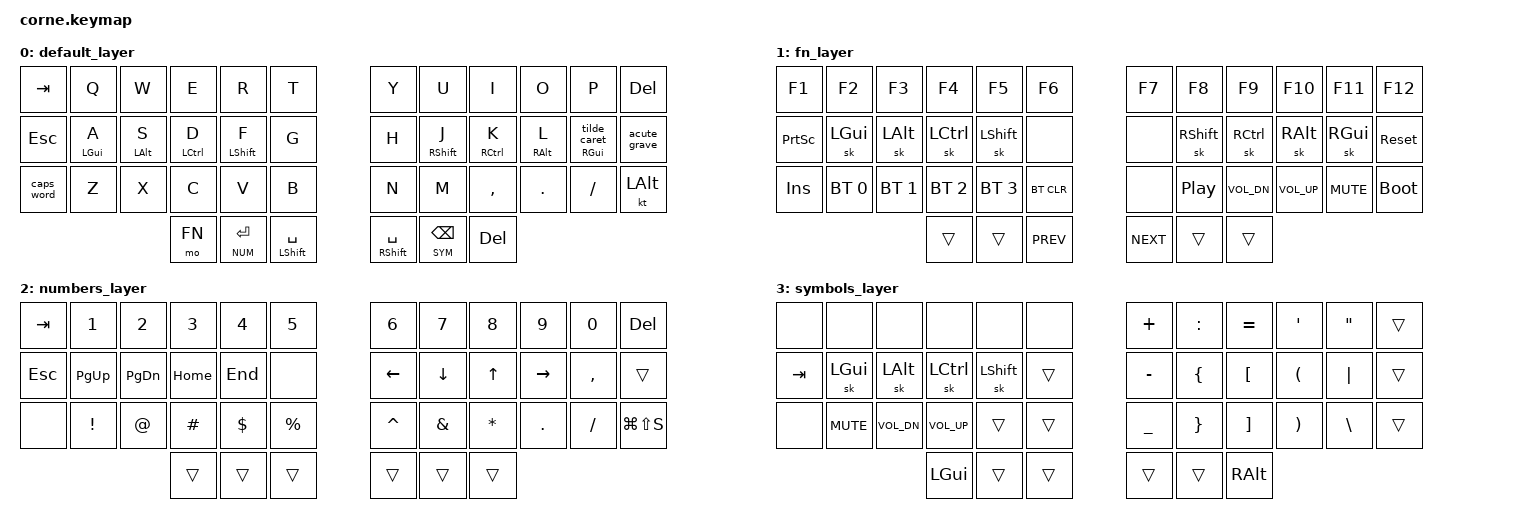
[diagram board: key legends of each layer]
/*
 * Copyright (c) 2020 The ZMK Contributors
 *
 * SPDX-License-Identifier: MIT
 */

#include <behaviors.dtsi>
#include <dt-bindings/zmk/keys.h>
#include <dt-bindings/zmk/bt.h>

/*
 * CAPSWORD CONFIGURATION
 */

&caps_word {
  continue-list = <UNDERSCORE MINUS DELETE BACKSPACE>;
};

/*
 * LAYERS DEFINITION
 */

#define DFT 0
#define FN  1
#define NUM 2
#define SYM 3

/*
 * KEYS DEFINITION FOR HOME ROW MODS
 */

#define K_LEFT  0 1 2 3 4 5 12 13 14 15 16 17 24 25 26 27 28 29
#define K_RIGHT 6 7 8 9 10 11 18 19 20 21 22 23 30 31 32 33 34 35
#define K_THUMB 36 37 38 39 40 41

/*
 * START OF KEYMAP CONFIGURATION
 */

/ {

  /*
   * MACROS
   */
  
  macros {

    m_ced: m_ced {
      compatible = "zmk,behavior-macro";
      #binding-cells = <0>;
      bindings = <&kp SQT &kp C>;
    };

    m_dqt_spc: m_dqt_spc {
      compatible = "zmk,behavior-macro";
      #binding-cells = <0>;
      bindings = <&kp DQT &kp SPC>;
    };
    
    m_sqt_spc: m_sqt_spc {
      compatible = "zmk,behavior-macro";
      #binding-cells = <0>;
      bindings = <&kp SQT &kp SPC>;
    };
  };

  /*
   * COMBOS
   */

  combos {
    compatible = "zmk,combos";

	combo_semicol {
      timeout-ms = <60>;
	  layers = <0>;
	  key-positions = <32 33>;
	  bindings = <&kp SEMI>;
	};

    combo_caps {
      timeout-ms = <60>;
      key-positions = <38 39>;
      bindings = <&kp CAPS>;
    };

    combo_cedilla {
      timeout-ms = <60>;
      layers = <0>;
      key-positions = <26 27>;
      bindings = <&m_ced>;
    };

    combo_dqt {
      timeout-ms = <40>;
      key-positions = <7 8>;
      bindings = <&m_dqt_spc>;
    };

    combo_sqt {
      timeout-ms = <40>;
      key-positions = <8 9>;
      bindings = <&m_sqt_spc>;
    };
  };

/*
 * CUSTOM BEHAVIORS
 */

behavior {

  /*
   * HOME ROW MODS OPTIMIZATIONS
   */
  
  hrm_l: hrm_l {
    compatible = "zmk,behavior-hold-tap";
    #binding-cells = <2>;
    flavor = "balanced";
	tapping-term-ms = <250>;
	quick-tap-ms = <175>;
	require-prior-idle-ms = <150>;
	bindings = <&kp>, <&kp>;
	hold-trigger-key-positions = <K_RIGHT K_THUMB>;
	hold-trigger-on-release;
  };

  hrm_r: hrm_r {
    compatible = "zmk,behavior-hold-tap";
    #binding-cells = <2>;
    flavor = "balanced";
	tapping-term-ms = <250>;
	quick-tap-ms = <175>;
	require-prior-idle-ms = <150>;
	bindings = <&kp>, <&kp>;
	hold-trigger-key-positions = <K_LEFT K_THUMB>;
	hold-trigger-on-release;
  };

  ht_shift: ht_shift {
    compatible = "zmk,behavior-hold-tap";
    #binding-cells = <2>;
    flavor = "tap-preferred";
    require-prior-idle-ms = <150>;
    tapping-term-ms = <200>;
    quick-tap-ms = <200>;
    bindings = <&kp>, <&kp>;
  };

  /*
   * PERMIT REPETITION OF TAPPING
   */

  ht_bspc: ht_bspc {
    compatible = "zmk,behavior-hold-tap";
    #binding-cells = <2>;
    flavor = "balanced";
    tapping-term-ms = <200>;
    quick-tap-ms = <200>;
	bindings = <&mo>, <&kp>;
  };

  /*
   * ACCENTS
   */

  acute_grave: acute_grave {
    compatible = "zmk,behavior-mod-morph";
    #binding-cells = <0>;
    bindings = <&kp SQT>, <&kp GRAVE>;
    mods = <(MOD_LSFT|MOD_RSFT)>;
  };

  tilde_caret: tilde_caret {
    compatible = "zmk,behavior-mod-morph";
    #binding-cells = <0>;
    bindings = <&kp TILDE>, <&kp CARET>;
    mods = <(MOD_LSFT|MOD_RSFT)>;
  };

  hrm_tilde_caret: hrm_tilde_caret {
    compatible = "zmk,behavior-hold-tap";
    #binding-cells = <2>;
    flavor = "balanced";
	tapping-term-ms = <250>;
	quick-tap-ms = <175>;
	require-prior-idle-ms = <150>;
	bindings = <&kp>, <&tilde_caret>;
	hold-trigger-key-positions = <K_LEFT K_THUMB>;
	hold-trigger-on-release;
  };
};

  /*
   * KEYMAP
   */

  keymap {
    compatible = "zmk,keymap";

    default_layer {
      bindings = <
        &kp TAB    &kp Q         &kp W         &kp E          &kp R           &kp T                  &kp Y                  &kp U             &kp I          &kp O         &kp P                   &kp DEL
        &kp ESC    &hrm_l LGUI A &hrm_l LALT S &hrm_l LCTRL D &hrm_l LSHIFT F &kp G                  &kp H                  &hrm_r RSHIFT J   &hrm_r RCTRL K &hrm_r RALT L &hrm_tilde_caret RGUI 0 &acute_grave 
        &caps_word &kp Z         &kp X         &kp C          &kp V           &kp B                  &kp N                  &kp M             &kp COMMA      &kp DOT       &kp FSLH                &kt LALT
                                               &mo FN         &lt NUM RET     &ht_shift LSHIFT SPACE &ht_shift RSHIFT SPACE &ht_bspc SYM BSPC &kp DEL
      >;
    };

    fn_layer {
      bindings = <
        &kp F1     &kp F2        &kp F3        &kp F4         &kp F5          &kp F6                &kp F7                 &kp F8           &kp F9          &kp F10       &kp F11                 &kp F12 
        &kp PSCRN  &sk LGUI      &sk LALT      &sk LCTRL      &sk LSHIFT      &none                 &none                  &sk RSHIFT       &sk RCTRL       &sk RALT      &sk RGUI                &sys_reset
        &kp INS    &bt BT_SEL 0  &bt BT_SEL 1  &bt BT_SEL 2   &bt BT_SEL 3    &bt BT_CLR            &none                  &kp C_PP         &kp C_VOL_DN    &kp C_VOL_UP  &kp C_MUTE              &bootloader
                                               &trans         &trans          &kp C_PREV            &kp C_NEXT             &trans           &trans
      >;
    };

    numbers_layer {
      bindings = <
  	    &kp TAB    &kp N1        &kp N2        &kp N3         &kp N4          &kp N5                &kp N6                &kp N7           &kp N8         &kp N9        &kp N0                    &kp DEL
  	    &kp ESC    &kp PG_UP     &kp PG_DN     &kp HOME       &kp END         &none                 &kp LEFT              &kp DOWN         &kp UP         &kp RIGHT     &kp COMMA                 &trans
  	    &none      &kp EXCL      &kp AT        &kp HASH       &kp DLLR        &kp PRCNT             &kp CARET             &kp AMPS         &kp ASTRK      &kp DOT       &kp FSLH                  &kp LG(LS(S))
  	                                           &trans         &trans          &trans                &trans                &trans           &trans
      >;
    };

    symbols_layer {
      bindings = <
        &none   &none    &none    &none     &none                  &none        &kp PLUS  &kp COLON &kp EQUAL &kp SQT &kp DQT   &trans
        &kp TAB &sk LGUI &sk LALT &sk LCTRL &sk LSHIFT             &trans       &kp MINUS &kp LBRC  &kp LBKT &kp LPAR &kp PIPE &trans
        &none &kp C_MUTE   &kp C_VOL_DN &kp C_VOL_UP &trans        &trans       &kp UNDER &kp RBRC  &kp RBKT &kp RPAR &kp BSLH &trans
                                 &kp LGUI &trans                   &trans          &trans   &trans    &kp RALT
      >;
    };

  };
};
